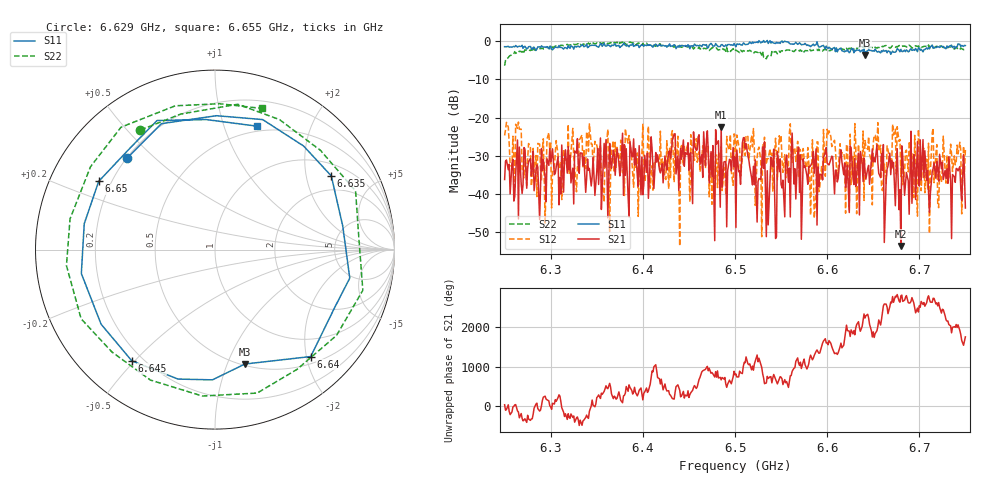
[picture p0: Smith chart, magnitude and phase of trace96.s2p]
# Hz S RI R 50
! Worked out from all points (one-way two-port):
!   401 points, 6.25 GHz to 6.75 GHz, reference 50 ohm
!   highest |S21| = -22.50 dB at 6.485 GHz (marker M1); lowest = -53.7 dB at 6.68 GHz (marker M2)
!   lowest |S11| = -3.6 dB at 6.641 GHz (marker M3), VSWR 4.86, Z = 25.7 - j57.9 ohm
!   |S11| at or under -10 dB: nowhere
!   |S22| runs from -6.4 to -0.2 dB; largest |S21 - S12| = 0.12
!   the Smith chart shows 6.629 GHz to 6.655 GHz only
!   S11 on the Smith chart (normalised r, x): 6.629 GHz: 0.20, +0.41; 6.635 GHz: 1.41, +2.81; 6.64 GHz: 0.63, -2.08; 6.645 GHz: 0.16, -0.49; 6.65 GHz: 0.15, +0.27; 6.655 GHz: 0.45, +1.30
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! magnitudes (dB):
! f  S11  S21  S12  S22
! 6.25 GHz  -1.4  -36.3  -24.7  -6.4
! 6.259 GHz  -1.5  -31.0  -24.9  -3.5
! 6.265 GHz  -1.4  -46.6  -21.2  -2.9
! 6.271 GHz  -1.5  -27.9  -35.8  -2.9
! 6.334 GHz  -1.0  -29.3  -24.6  -1.1
! 6.418 GHz  -0.9  -33.7  -32.8  -0.7
! 6.485 GHz  -0.9  -22.5  -27.7  -2.1
! 6.5 GHz  -1.1  -30.3  -24.7  -2.5
! 6.584 GHz  -1.0  -31.6  -25.9  -2.4
! 6.601 GHz  -1.9  -32.3  -24.7  -2.3
! 6.629 GHz  -3.0  -37.6  -36.5  -2.1
! 6.635 GHz  -2.3  -45.5  -35.1  -1.4
! 6.64 GHz  -1.9  -30.7  -41.7  -1.8
! 6.641 GHz  -3.6  -33.6  -26.0  -1.6
! 6.645 GHz  -2.2  -32.6  -25.0  -1.8
! 6.65 GHz  -2.5  -31.6  -26.8  -1.6
! 6.655 GHz  -2.8  -31.9  -21.3  -1.6
! 6.661 GHz  -2.3  -27.1  -36.0  -1.4
! 6.668 GHz  -2.7  -29.4  -31.8  -1.8
! 6.68 GHz  -2.1  -53.7  -35.5  -1.3
! 6.704 GHz  -2.8  -25.8  -29.2  -1.5
! 6.75 GHz  -1.1  -43.7  -28.5  -2.1
